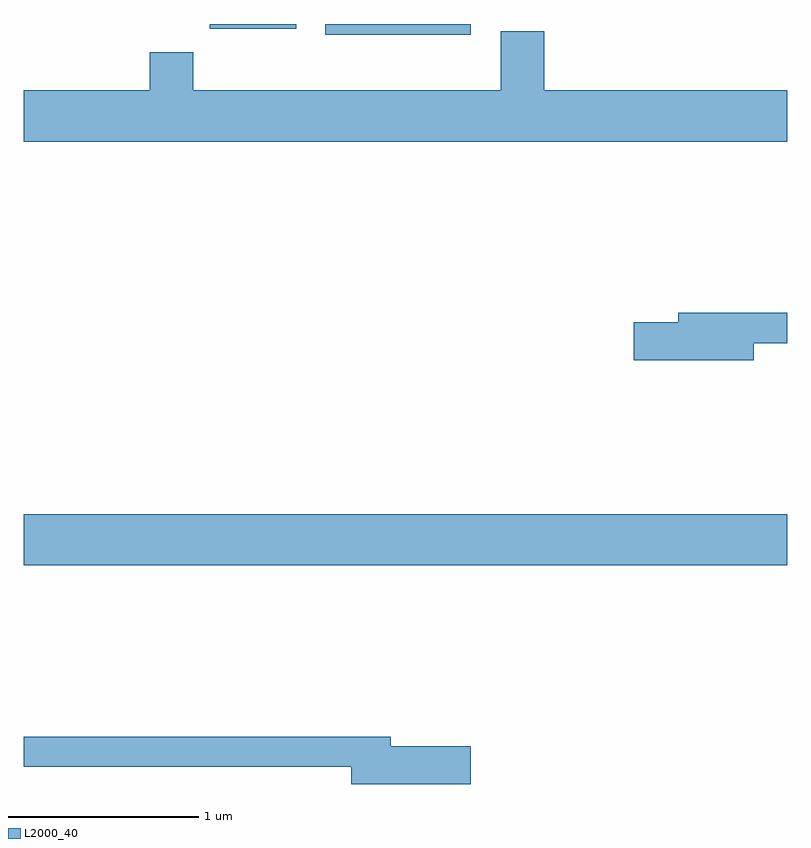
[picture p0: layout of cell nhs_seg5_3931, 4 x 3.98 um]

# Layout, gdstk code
import gdstk
lib = gdstk.Library(unit=1e-6, precision=1e-09)
def R(c, l, rs):  # rectangles x0, y0, x1, y1
    for r in rs: c.add(gdstk.rectangle(r[:2], r[2:], *l))
def P(c, l, *ps):  # polygons
    for p in ps: c.add(gdstk.Polygon(p, *l))
L2000_40 = (2000, 40)

nhs_seg5_3931 = lib.new_cell('nhs_seg5_3931')
R(nhs_seg5_3931, L2000_40, [(301.611,1461.236,305.611,1461.504), (303.191,1464.016,303.954,1464.072), (302.586,1464.046,303.039,1464.072)])
P(nhs_seg5_3931, L2000_40, [(305.611,1463.724),(304.339,1463.724),(304.339,1464.034),(304.111,1464.034),(304.111,1463.724),(302.499,1463.724),(302.499,1463.924),(302.271,1463.924),(302.271,1463.724),(301.611,1463.724),(301.611,1463.456),(305.611,1463.456)],
  [(305.434,1462.401),(305.611,1462.401),(305.611,1462.559),(305.041,1462.559),(305.041,1462.509),(304.806,1462.509),(304.806,1462.311),(305.434,1462.311)],
  [(303.954,1460.289),(303.534,1460.289),(303.534,1460.339),(301.611,1460.339),(301.611,1460.181),(303.326,1460.181),(303.326,1460.091),(303.954,1460.091)])

lib.write_gds('nhs_seg5_3931.gds')
